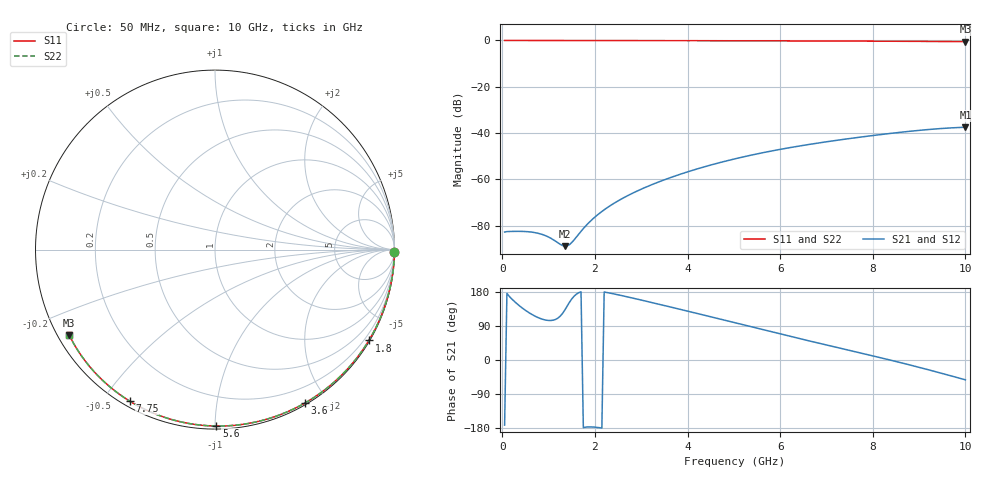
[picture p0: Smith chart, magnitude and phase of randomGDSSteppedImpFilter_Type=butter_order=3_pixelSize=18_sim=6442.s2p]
! freq	dB(S11)	phase(S11)	dB(S12)	phase(S12)
!  dB(S21)	phase(S21)	dB(S22)	phase(S22)
!S-par simulation data
#  GHz  S  DB  R 50
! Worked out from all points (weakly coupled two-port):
!   200 points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, 50 MHz to 10 GHz, reference 50 ohm
!   highest |S21| = -37.47 dB at 10 GHz (marker M1); lowest = -88.8 dB at 1.35 GHz (marker M2)
!   lowest |S11| = -0.5 dB at 10 GHz (marker M3), VSWR 33.37, Z = 1.61 - j13.6 ohm
!   |S11| at or under -10 dB: nowhere
!   |S22| runs from -0.5 to 0.0 dB; largest |S21 - S12| = 0
!   S11 on the Smith chart (normalised r, x): 50 MHz: open; 1.8 GHz: 0.03, -3.66; 3.6 GHz: 0.02, -1.75; 5.6 GHz: 0.02, -1.01; 7.75 GHz: 0.02, -0.58; 10 GHz: 0.03, -0.27
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0.05  -0.00 -0.9  -82.74 -172.0  -82.74 -172.0  -0.00 -0.9
0.7  -0.01 -12.0  -82.97 116.1  -82.97 116.1  -0.01 -12.0
1.35  -0.03 -23.0  -88.85 131.8  -88.85 131.8  -0.03 -23.0
1.75  -0.04 -29.7  -81.23 -178.2  -81.23 -178.2  -0.04 -29.7
1.8  -0.04 -30.6  -80.12 -177.2  -80.12 -177.2  -0.04 -30.6
1.95  -0.04 -33.1  -77.15 -176.8  -77.15 -176.8  -0.04 -33.1
2.1  -0.05 -35.5  -74.63 -178.7  -74.63 -178.7  -0.05 -35.5
2.25  -0.05 -38.0  -72.43 178.3  -72.43 178.3  -0.05 -38.0
2.45  -0.05 -41.3  -69.87 173.4  -69.87 173.4  -0.05 -41.3
2.65  -0.06 -44.5  -67.62 168.0  -67.62 168.0  -0.06 -44.5
2.9  -0.06 -48.5  -65.14 161.0  -65.14 161.0  -0.06 -48.5
3.4  -0.07 -56.5  -60.93 146.6  -60.93 146.6  -0.07 -56.5
3.6  -0.08 -59.6  -59.45 140.8  -59.45 140.8  -0.08 -59.6
4.3  -0.10 -70.4  -54.94 120.1  -54.94 120.1  -0.10 -70.4
5.05  -0.13 -81.6  -51.00 97.5  -51.00 97.5  -0.13 -81.6
5.6  -0.15 -89.6  -48.58 80.8  -48.58 80.8  -0.15 -89.6
6.15  -0.17 -97.4  -46.50 64.4  -46.50 64.4  -0.17 -97.4
6.7  -0.20 -105.0  -44.67 48.3  -44.67 48.3  -0.20 -105.0
7.75  -0.28 -119.4  -41.69 18.1  -41.69 18.1  -0.28 -119.4
8.35  -0.33 -127.4  -40.22 0.6  -40.22 0.6  -0.33 -127.4
9.25  -0.42 -139.5  -38.38 -27.3  -38.38 -27.3  -0.42 -139.5
10  -0.52 -149.6  -37.47 -52.3  -37.47 -52.3  -0.52 -149.6
